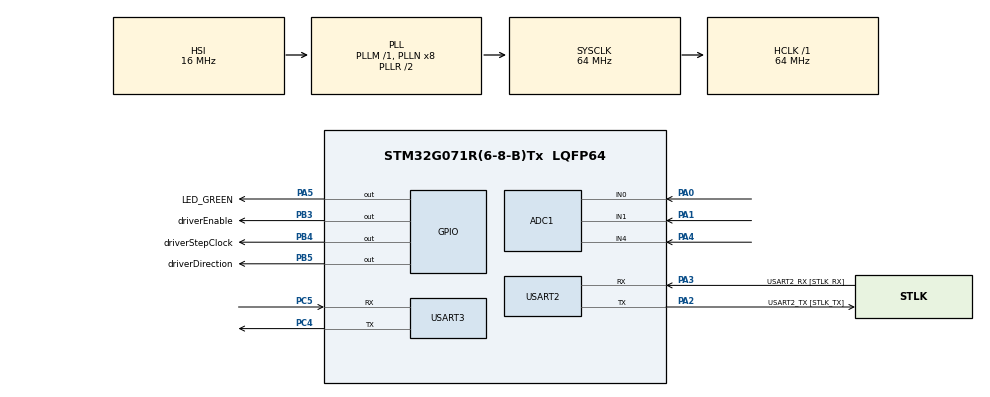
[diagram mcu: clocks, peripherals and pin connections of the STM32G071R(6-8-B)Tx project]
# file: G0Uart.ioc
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ADC1.Channel-0\#ChannelRegularConversion=ADC_CHANNEL_0
ADC1.Channel-1\#ChannelRegularConversion=ADC_CHANNEL_1
ADC1.Channel-2\#ChannelRegularConversion=ADC_CHANNEL_4
ADC1.ClockPrescaler=ADC_CLOCK_ASYNC_DIV1
ADC1.ContinuousConvMode=DISABLE
ADC1.DMAContinuousRequests=ENABLE
ADC1.EOCSelection=ADC_EOC_SEQ_CONV
ADC1.ExternalTrigConv=ADC_EXTERNALTRIG_T2_TRGO
ADC1.ExternalTrigConvEdge=ADC_EXTERNALTRIGCONVEDGE_RISINGFALLING
ADC1.NbrOfConversion=3
ADC1.NbrOfConversionFlag=1
ADC1.Rank-0\#ChannelRegularConversion=1
ADC1.Rank-1\#ChannelRegularConversion=2
ADC1.Rank-2\#ChannelRegularConversion=3
ADC1.SamplingTime-0\#ChannelRegularConversion=ADC_SAMPLINGTIME_COMMON_1
ADC1.SamplingTime-1\#ChannelRegularConversion=ADC_SAMPLINGTIME_COMMON_1
ADC1.SamplingTime-2\#ChannelRegularConversion=ADC_SAMPLINGTIME_COMMON_1
ADC1.SelectedChannel=ADC_CHANNEL_0|ADC_CHANNEL_1|ADC_CHANNEL_4
ADC1.master=1
Dma.ADC1.0.Direction=DMA_PERIPH_TO_MEMORY
Dma.ADC1.0.EventEnable=DISABLE
Dma.ADC1.0.Instance=DMA1_Channel1
Dma.ADC1.0.MemDataAlignment=DMA_MDATAALIGN_HALFWORD
Dma.ADC1.0.MemInc=DMA_MINC_ENABLE
Dma.ADC1.0.Mode=DMA_CIRCULAR
Dma.ADC1.0.PeriphDataAlignment=DMA_PDATAALIGN_HALFWORD
Dma.ADC1.0.PeriphInc=DMA_PINC_DISABLE
Dma.ADC1.0.Polarity=HAL_DMAMUX_REQ_GEN_RISING
Dma.ADC1.0.Priority=DMA_PRIORITY_LOW
Dma.ADC1.0.RequestNumber=1
Dma.ADC1.0.SignalID=NONE
Dma.ADC1.0.SyncEnable=ENABLE
Dma.ADC1.0.SyncPolarity=HAL_DMAMUX_SYNC_RISING
Dma.ADC1.0.SyncRequestNumber=1
Dma.ADC1.0.SyncSignalID=NONE
Dma.Request0=ADC1
Dma.Request1=USART3_RX
Dma.USART3_RX.1.Direction=DMA_PERIPH_TO_MEMORY
Dma.USART3_RX.1.EventEnable=DISABLE
Dma.USART3_RX.1.Instance=DMA1_Channel2
Dma.USART3_RX.1.MemDataAlignment=DMA_MDATAALIGN_BYTE
Dma.USART3_RX.1.MemInc=DMA_MINC_ENABLE
Dma.USART3_RX.1.Mode=DMA_NORMAL
Dma.USART3_RX.1.PeriphDataAlignment=DMA_PDATAALIGN_BYTE
Dma.USART3_RX.1.PeriphInc=DMA_PINC_DISABLE
Dma.USART3_RX.1.Polarity=HAL_DMAMUX_REQ_GEN_RISING
Dma.USART3_RX.1.Priority=DMA_PRIORITY_LOW
Dma.USART3_RX.1.RequestNumber=1
Dma.USART3_RX.1.SignalID=NONE
Dma.USART3_RX.1.SyncEnable=DISABLE
Dma.USART3_RX.1.SyncPolarity=HAL_DMAMUX_SYNC_NO_EVENT
Dma.USART3_RX.1.SyncRequestNumber=1
Dma.USART3_RX.1.SyncSignalID=NONE
Mcu.Family=STM32G0
Mcu.Name=STM32G071R(6-8-B)Tx
Mcu.Package=LQFP64
NVIC.ADC1_COMP_IRQn=true\:0\:0\:false\:false\:true\:true\:true\:true
NVIC.DMA1_Ch4_7_DMAMUX1_OVR_IRQn=true\:0\:0\:false\:false\:true\:false\:true\:true
NVIC.DMA1_Channel1_IRQn=true\:0\:0\:false\:false\:true\:false\:true\:true
NVIC.DMA1_Channel2_3_IRQn=true\:0\:0\:false\:false\:true\:false\:true\:true
NVIC.TIM1_BRK_UP_TRG_COM_IRQn=true\:0\:0\:false\:false\:true\:true\:true\:true
NVIC.TIM2_IRQn=true\:0\:0\:false\:false\:true\:true\:true\:true
NVIC.USART3_4_LPUART1_IRQn=true\:0\:0\:false\:false\:true\:true\:true\:true
PA0.Mode=IN0
PA0.Signal=ADC1_IN0
PA1.Mode=IN1
PA1.Signal=ADC1_IN1
PA13.GPIO_Label=TMS
PA13.Mode=Serial_Wire
PA13.Signal=SYS_SWDIO
PA14-BOOT0.GPIO_Label=TCK
PA14-BOOT0.Mode=Serial_Wire
PA14-BOOT0.Signal=SYS_SWCLK
PA2.GPIO_Label=USART2_TX [STLK_TX]
PA2.GPIO_PuPd=GPIO_PULLUP
PA2.Mode=Asynchronous
PA2.Signal=USART2_TX
PA3.GPIO_Label=USART2_RX [STLK_RX]
PA3.GPIO_PuPd=GPIO_PULLUP
PA3.Mode=Asynchronous
PA3.Signal=USART2_RX
PA4.Mode=IN4
PA4.Signal=ADC1_IN4
PA5.GPIO_Label=LED_GREEN
PA5.GPIO_Speed=GPIO_SPEED_FREQ_HIGH
PA5.Signal=GPIO_Output
PB3.GPIO_Label=driverEnable
PB3.Signal=GPIO_Output
PB4.GPIO_Label=driverStepClock
PB4.Signal=GPIO_Output
PB5.GPIO_Label=driverDirection
PB5.Signal=GPIO_Output
PC13.Mode=SYS_WakeUp1
PC13.Signal=SYS_WKUP2
PC14-OSC32_IN\ (PC14).Signal=RCC_OSC32_IN
PC15-OSC32_OUT\ (PC15).Signal=RCC_OSC32_OUT
PC4.Mode=Asynchronous
PC4.Signal=USART3_TX
PC5.Mode=Asynchronous
PC5.Signal=USART3_RX
PF0-OSC_IN\ (PF0).GPIO_Label=MCO
PF0-OSC_IN\ (PF0).Signal=RCC_OSC_IN
ProjectManager.HeapSize=0x200
ProjectManager.StackSize=0x400
ProjectManager.TargetToolchain=STM32CubeIDE
RCC.ADCFreq_Value=64000000
RCC.AHBFreq_Value=64000000
RCC.CortexFreq_Value=64000000
RCC.EXTERNAL_CLOCK_VALUE=12288000
RCC.HCLKFreq_Value=64000000
RCC.HSE_VALUE=8000000
RCC.HSI_VALUE=16000000
RCC.LSE_VALUE=32768
RCC.SYSCLKFreq_VALUE=64000000
RCC.SYSCLKSource=RCC_SYSCLKSOURCE_PLLCLK
RCC.VCOOutputFreq_Value=128000000
TIM1.Period=1000-1
TIM1.Prescaler=64-1
TIM2.Period=30-1
TIM2.Prescaler=64-1
TIM2.TIM_MasterOutputTrigger=TIM_TRGO_UPDATE
USART2.VirtualMode-Asynchronous=VM_ASYNC
USART3.VirtualMode-Asynchronous=VM_ASYNC
VP_TIM1_VS_ClockSourceINT.Mode=Internal
VP_TIM2_VS_ClockSourceINT.Mode=Internal
board=NUCLEO-G071RB

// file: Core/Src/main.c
/* USER CODE BEGIN Header */
/**
 ******************************************************************************
 * @file           : main.c
 * @brief          : Main program body
 ******************************************************************************
 * @attention
 *
 * Copyright (c) 2023 STMicroelectronics.
 * All rights reserved.
 *
 * This software is licensed under terms that can be found in the LICENSE file
 * in the root directory of this software component.
 * If no LICENSE file comes with this software, it is provided AS-IS.
 *
 ******************************************************************************
 */
/* USER CODE END Header */
#include "main.h"

/* USER CODE BEGIN Includes */
#include <string.h>
#include "stdbool.h"
/* USER CODE END Includes */

/* USER CODE BEGIN PD */
char RxBuf[10];
uint8_t tempBuf[10];
bool okflag = false;
char speed, test, turn;
uint16_t noTurns;
uint32_t combine;

// ADC Variable START
volatile uint32_t avg1 = 0, avg2 = 0, avg3 = 0, adc_val, sum = 0;
int top_val1[100], top_val2[100], top_val3[100];

#define Buflen 3
uint16_t dmaBuffer[Buflen];

uint32_t samp100 = 0;
// ADC Variable END

// Merge file START

volatile uint8_t timerCount = 0;
volatile bool timerFlag = false;
volatile uint16_t motorStepCount = 0;
volatile uint16_t motorRotateCount = 0;
volatile uint16_t noOfTurn = 10;
volatile uint16_t noSteptoGive = 8000;
uint16_t x = 0;
volatile uint32_t adcResult[3];
// Merge file END

uint16_t timBuffer[Buflen];

/* USER CODE END PD */

ADC_HandleTypeDef hadc1;
DMA_HandleTypeDef hdma_adc1;

TIM_HandleTypeDef htim1;
TIM_HandleTypeDef htim2;

UART_HandleTypeDef huart2;
UART_HandleTypeDef huart3;
DMA_HandleTypeDef hdma_usart3_rx;

void SystemClock_Config(void);
static void MX_GPIO_Init(void);
static void MX_DMA_Init(void);
static void MX_ADC1_Init(void);
static void MX_TIM2_Init(void);
static void MX_USART2_UART_Init(void);
static void MX_USART3_UART_Init(void);
static void MX_TIM1_Init(void);
/* USER CODE BEGIN PFP */
uint8_t count = 0;

/* USER CODE END PFP */

/* USER CODE BEGIN 0 */
void HAL_UART_RxCpltCallback(UART_HandleTypeDef *huart) {
	UNUSED(huart);
	okflag = true;

}

void updateVal(int *top_val1, int *top_val2, int *top_val3, int adc_val1,
		int adc_val2, int adc_val3) {
	for (uint8_t counter = 1; counter < 100; counter++) {
		top_val1[counter - 1] = top_val1[counter];
		top_val2[counter - 1] = top_val2[counter];
		top_val3[counter - 1] = top_val3[counter];
	}
	top_val1[99] = adc_val1;
	top_val2[99] = adc_val2;
	top_val3[99] = adc_val3;
}
uint16_t averageVal(int *top_val) {
	sum = 0;
	for (int i = 0; i < 100; i++) {
		sum += top_val[i];
	}
	return sum / 100;
}

void HAL_ADC_ConvCpltCallback(ADC_HandleTypeDef *hadc) {
	if (samp100 < 100) {
		updateVal(top_val1, top_val2, top_val3, dmaBuffer[0], dmaBuffer[1],
				dmaBuffer[2]);
		avg1 = averageVal(top_val1);
		avg2 = averageVal(top_val2);
		avg3 = averageVal(top_val3);
		HAL_ADC_Start_DMA(&hadc1, (uint32_t*) dmaBuffer, Buflen);

	}

	samp100++;
}

/* USER CODE END 0 */

int main(void) {

	/* MCU Configuration--------------------------------------------------------*/

	/* Reset of all peripherals, Initializes the Flash interface and the Systick. */
	HAL_Init();

	/* Configure the system clock */
	SystemClock_Config();

	/* Initialize all configured peripherals */
	MX_GPIO_Init();
	MX_DMA_Init();
	MX_ADC1_Init();
	MX_TIM2_Init();
	MX_USART2_UART_Init();
	MX_USART3_UART_Init();
	MX_TIM1_Init();
	/* USER CODE BEGIN 2 */

	HAL_UART_Receive_DMA(&huart3, (uint8_t*) RxBuf, 10);

	// HAL_ADCEx_Calibration_Start(&hadc1);

	// HAL_TIM_Base_Start(&htim2);

	HAL_TIM_Base_Start(&htim2);
	HAL_ADC_Start_DMA(&hadc1, (uint32_t*) dmaBuffer, Buflen);
	/* USER CODE END 2 */

	/* Infinite loop */
	while (1) {

		/* USER CODE BEGIN 3 */
		//	  count = 38;
		//	  HAL_UART_Transmit(&huart3, (uint8_t *)&count, 1, 10);
		//	  HAL_Delay(1000);
		if (okflag == true) {
			int i = 9;
			okflag = false;
			while (i--) {
				tempBuf[i] = RxBuf[i];
			}
			speed = RxBuf[0];
			test = RxBuf[2];
			turn = RxBuf[4];

			noTurns = 100 * (int) (RxBuf[6] - 48) + 10 * (int) (RxBuf[7] - 48)
					+ (int) (RxBuf[8] - 48);
			HAL_TIM_Base_Start_IT(&htim1);
			HAL_GPIO_WritePin(driverDirection_GPIO_Port, driverDirection_Pin,
					GPIO_PIN_SET);
			HAL_GPIO_WritePin(driverEnable_GPIO_Port, driverEnable_Pin,
					GPIO_PIN_SET);

			HAL_UART_Receive_DMA(&huart3, (uint8_t*) RxBuf, 10);
		}

		if (timerFlag) {
			timerFlag = false;
			timerCount += 1;
			switch (timerCount) {
			case 1:

				HAL_GPIO_WritePin(driverStepClock_GPIO_Port,
				driverStepClock_Pin, GPIO_PIN_SET);
				motorStepCount += 1;
				break;
			case 12:
				HAL_GPIO_WritePin(driverStepClock_GPIO_Port,
				driverStepClock_Pin, GPIO_PIN_RESET);
				if (motorStepCount == noSteptoGive) {
					motorStepCount = 0;
					HAL_GPIO_TogglePin(driverDirection_GPIO_Port,
					driverDirection_Pin);
				}
				// write logic for ADC Start and its timer (on ADCwithdma and timer for its trigger)

				// ADC Logic START

				// ADC Logic END

				break;
			case 24:
				break;

				// write logic for ADC stop and its timer (on ADCwithdma and timer for its trigger)

				// ADC Logic Stop START
				samp100 = 0;
				// ADC Logic Stop END

				// transmit data from here

				// Data Transmit START

				// Data Transmit END

			case 36:
				timerCount = 0;
				if (motorRotateCount == 2 * noSteptoGive) {
					HAL_TIM_Base_Stop_IT(&htim1);
					HAL_GPIO_WritePin(driverEnable_GPIO_Port, driverEnable_Pin,
							GPIO_PIN_RESET);
				}
				break;
			}
		}
	}
	/* USER CODE END 3 */
}

void SystemClock_Config(void) {
	RCC_OscInitTypeDef RCC_OscInitStruct = { 0 };
	RCC_ClkInitTypeDef RCC_ClkInitStruct = { 0 };

	/** Configure the main internal regulator output voltage
	 */
	HAL_PWREx_ControlVoltageScaling(PWR_REGULATOR_VOLTAGE_SCALE1);

	/** Initializes the RCC Oscillators according to the specified parameters
	 * in the RCC_OscInitTypeDef structure.
	 */
	RCC_OscInitStruct.OscillatorType = RCC_OSCILLATORTYPE_HSI;
	RCC_OscInitStruct.HSIState = RCC_HSI_ON;
	RCC_OscInitStruct.HSIDiv = RCC_HSI_DIV1;
	RCC_OscInitStruct.HSICalibrationValue = RCC_HSICALIBRATION_DEFAULT;
	RCC_OscInitStruct.PLL.PLLState = RCC_PLL_ON;
	RCC_OscInitStruct.PLL.PLLSource = RCC_PLLSOURCE_HSI;
	RCC_OscInitStruct.PLL.PLLM = RCC_PLLM_DIV1;
	RCC_OscInitStruct.PLL.PLLN = 8;
	RCC_OscInitStruct.PLL.PLLP = RCC_PLLP_DIV2;
	RCC_OscInitStruct.PLL.PLLQ = RCC_PLLQ_DIV2;
	RCC_OscInitStruct.PLL.PLLR = RCC_PLLR_DIV2;
	if (HAL_RCC_OscConfig(&RCC_OscInitStruct) != HAL_OK) {
		Error_Handler();
	}

	/** Initializes the CPU, AHB and APB buses clocks
	 */
	RCC_ClkInitStruct.ClockType = RCC_CLOCKTYPE_HCLK | RCC_CLOCKTYPE_SYSCLK
			| RCC_CLOCKTYPE_PCLK1;
	RCC_ClkInitStruct.SYSCLKSource = RCC_SYSCLKSOURCE_PLLCLK;
	RCC_ClkInitStruct.AHBCLKDivider = RCC_SYSCLK_DIV1;
	RCC_ClkInitStruct.APB1CLKDivider = RCC_HCLK_DIV1;

	if (HAL_RCC_ClockConfig(&RCC_ClkInitStruct, FLASH_LATENCY_2) != HAL_OK) {
		Error_Handler();
	}
}

static void MX_ADC1_Init(void) {

	ADC_ChannelConfTypeDef sConfig = { 0 };

	/** Configure the global features of the ADC (Clock, Resolution, Data Alignment and number of conversion)
	 */
	hadc1.Instance = ADC1;
	hadc1.Init.ClockPrescaler = ADC_CLOCK_ASYNC_DIV1;
	hadc1.Init.Resolution = ADC_RESOLUTION_12B;
	hadc1.Init.DataAlign = ADC_DATAALIGN_RIGHT;
	hadc1.Init.ScanConvMode = ADC_SCAN_ENABLE;
	hadc1.Init.EOCSelection = ADC_EOC_SEQ_CONV;
	hadc1.Init.LowPowerAutoWait = DISABLE;
	hadc1.Init.LowPowerAutoPowerOff = DISABLE;
	hadc1.Init.ContinuousConvMode = DISABLE;
	hadc1.Init.NbrOfConversion = 3;
	hadc1.Init.DiscontinuousConvMode = DISABLE;
	hadc1.Init.ExternalTrigConv = ADC_EXTERNALTRIG_T2_TRGO;
	hadc1.Init.ExternalTrigConvEdge = ADC_EXTERNALTRIGCONVEDGE_RISINGFALLING;
	hadc1.Init.DMAContinuousRequests = ENABLE;
	hadc1.Init.Overrun = ADC_OVR_DATA_PRESERVED;
	hadc1.Init.SamplingTimeCommon1 = ADC_SAMPLETIME_1CYCLE_5;
	hadc1.Init.SamplingTimeCommon2 = ADC_SAMPLETIME_1CYCLE_5;
	hadc1.Init.OversamplingMode = DISABLE;
	hadc1.Init.TriggerFrequencyMode = ADC_TRIGGER_FREQ_HIGH;
	if (HAL_ADC_Init(&hadc1) != HAL_OK) {
		Error_Handler();
	}

	/** Configure Regular Channel
	 */
	sConfig.Channel = ADC_CHANNEL_0;
	sConfig.Rank = ADC_REGULAR_RANK_1;
	sConfig.SamplingTime = ADC_SAMPLINGTIME_COMMON_1;
	if (HAL_ADC_ConfigChannel(&hadc1, &sConfig) != HAL_OK) {
		Error_Handler();
	}

	/** Configure Regular Channel
	 */
	sConfig.Channel = ADC_CHANNEL_1;
	sConfig.Rank = ADC_REGULAR_RANK_2;
	if (HAL_ADC_ConfigChannel(&hadc1, &sConfig) != HAL_OK) {
		Error_Handler();
	}

	/** Configure Regular Channel
	 */
	sConfig.Channel = ADC_CHANNEL_4;
	sConfig.Rank = ADC_REGULAR_RANK_3;
	if (HAL_ADC_ConfigChannel(&hadc1, &sConfig) != HAL_OK) {
		Error_Handler();
	}

}

static void MX_TIM1_Init(void) {

	TIM_ClockConfigTypeDef sClockSourceConfig = { 0 };
	TIM_MasterConfigTypeDef sMasterConfig = { 0 };

	htim1.Instance = TIM1;
	htim1.Init.Prescaler = 64 - 1;
	htim1.Init.CounterMode = TIM_COUNTERMODE_UP;
	htim1.Init.Period = 1000 - 1;
	htim1.Init.ClockDivision = TIM_CLOCKDIVISION_DIV1;
	htim1.Init.RepetitionCounter = 0;
	htim1.Init.AutoReloadPreload = TIM_AUTORELOAD_PRELOAD_DISABLE;
	if (HAL_TIM_Base_Init(&htim1) != HAL_OK) {
		Error_Handler();
	}
	sClockSourceConfig.ClockSource = TIM_CLOCKSOURCE_INTERNAL;
	if (HAL_TIM_ConfigClockSource(&htim1, &sClockSourceConfig) != HAL_OK) {
		Error_Handler();
	}
	sMasterConfig.MasterOutputTrigger = TIM_TRGO_RESET;
	sMasterConfig.MasterOutputTrigger2 = TIM_TRGO2_RESET;
	sMasterConfig.MasterSlaveMode = TIM_MASTERSLAVEMODE_DISABLE;
	if (HAL_TIMEx_MasterConfigSynchronization(&htim1, &sMasterConfig)
			!= HAL_OK) {
		Error_Handler();
	}

}

static void MX_TIM2_Init(void) {

	TIM_ClockConfigTypeDef sClockSourceConfig = { 0 };
	TIM_MasterConfigTypeDef sMasterConfig = { 0 };

	htim2.Instance = TIM2;
	htim2.Init.Prescaler = 64 - 1;
	htim2.Init.CounterMode = TIM_COUNTERMODE_UP;
	htim2.Init.Period = 30 - 1;
	htim2.Init.ClockDivision = TIM_CLOCKDIVISION_DIV1;
	htim2.Init.AutoReloadPreload = TIM_AUTORELOAD_PRELOAD_DISABLE;
	if (HAL_TIM_Base_Init(&htim2) != HAL_OK) {
		Error_Handler();
	}
	sClockSourceConfig.ClockSource = TIM_CLOCKSOURCE_INTERNAL;
	if (HAL_TIM_ConfigClockSource(&htim2, &sClockSourceConfig) != HAL_OK) {
		Error_Handler();
	}
	sMasterConfig.MasterOutputTrigger = TIM_TRGO_UPDATE;
	sMasterConfig.MasterSlaveMode = TIM_MASTERSLAVEMODE_DISABLE;
	if (HAL_TIMEx_MasterConfigSynchronization(&htim2, &sMasterConfig)
			!= HAL_OK) {
		Error_Handler();
	}

}

static void MX_USART2_UART_Init(void) {

	huart2.Instance = USART2;
	huart2.Init.BaudRate = 115200;
	huart2.Init.WordLength = UART_WORDLENGTH_8B;
	huart2.Init.StopBits = UART_STOPBITS_1;
	huart2.Init.Parity = UART_PARITY_NONE;
	huart2.Init.Mode = UART_MODE_TX_RX;
	huart2.Init.HwFlowCtl = UART_HWCONTROL_NONE;
	huart2.Init.OverSampling = UART_OVERSAMPLING_16;
	huart2.Init.OneBitSampling = UART_ONE_BIT_SAMPLE_DISABLE;
	huart2.Init.ClockPrescaler = UART_PRESCALER_DIV1;
	huart2.AdvancedInit.AdvFeatureInit = UART_ADVFEATURE_NO_INIT;
	if (HAL_UART_Init(&huart2) != HAL_OK) {
		Error_Handler();
	}
	if (HAL_UARTEx_SetTxFifoThreshold(&huart2, UART_TXFIFO_THRESHOLD_1_8)
			!= HAL_OK) {
		Error_Handler();
	}
	if (HAL_UARTEx_SetRxFifoThreshold(&huart2, UART_RXFIFO_THRESHOLD_1_8)
			!= HAL_OK) {
		Error_Handler();
	}
	if (HAL_UARTEx_DisableFifoMode(&huart2) != HAL_OK) {
		Error_Handler();
	}

}

static void MX_USART3_UART_Init(void) {

	huart3.Instance = USART3;
	huart3.Init.BaudRate = 115200;
	huart3.Init.WordLength = UART_WORDLENGTH_8B;
	huart3.Init.StopBits = UART_STOPBITS_1;
	huart3.Init.Parity = UART_PARITY_NONE;
	huart3.Init.Mode = UART_MODE_TX_RX;
	huart3.Init.HwFlowCtl = UART_HWCONTROL_NONE;
	huart3.Init.OverSampling = UART_OVERSAMPLING_16;
	huart3.Init.OneBitSampling = UART_ONE_BIT_SAMPLE_DISABLE;
	huart3.Init.ClockPrescaler = UART_PRESCALER_DIV1;
	huart3.AdvancedInit.AdvFeatureInit = UART_ADVFEATURE_NO_INIT;
	if (HAL_UART_Init(&huart3) != HAL_OK) {
		Error_Handler();
	}

}

static void MX_DMA_Init(void) {

	/* DMA controller clock enable */
	__HAL_RCC_DMA1_CLK_ENABLE();

	/* DMA interrupt init */
	/* DMA1_Channel1_IRQn interrupt configuration */
	HAL_NVIC_SetPriority(DMA1_Channel1_IRQn, 0, 0);
	HAL_NVIC_EnableIRQ(DMA1_Channel1_IRQn);
	/* DMA1_Channel2_3_IRQn interrupt configuration */
	HAL_NVIC_SetPriority(DMA1_Channel2_3_IRQn, 0, 0);
	HAL_NVIC_EnableIRQ(DMA1_Channel2_3_IRQn);
	/* DMA1_Ch4_7_DMAMUX1_OVR_IRQn interrupt configuration */
	HAL_NVIC_SetPriority(DMA1_Ch4_7_DMAMUX1_OVR_IRQn, 0, 0);
	HAL_NVIC_EnableIRQ(DMA1_Ch4_7_DMAMUX1_OVR_IRQn);

}

static void MX_GPIO_Init(void) {
	GPIO_InitTypeDef GPIO_InitStruct = { 0 };

	/* GPIO Ports Clock Enable */
	__HAL_RCC_GPIOC_CLK_ENABLE();
	__HAL_RCC_GPIOF_CLK_ENABLE();
	__HAL_RCC_GPIOA_CLK_ENABLE();
	__HAL_RCC_GPIOB_CLK_ENABLE();

	/*Configure GPIO pin Output Level */
	HAL_GPIO_WritePin(LED_GREEN_GPIO_Port, LED_GREEN_Pin, GPIO_PIN_RESET);

	/*Configure GPIO pin Output Level */
	HAL_GPIO_WritePin(GPIOB,
	driverEnable_Pin | driverStepClock_Pin | driverDirection_Pin,
			GPIO_PIN_RESET);

	/*Configure GPIO pin : LED_GREEN_Pin */
	GPIO_InitStruct.Pin = LED_GREEN_Pin;
	GPIO_InitStruct.Mode = GPIO_MODE_OUTPUT_PP;
	GPIO_InitStruct.Pull = GPIO_NOPULL;
	GPIO_InitStruct.Speed = GPIO_SPEED_FREQ_HIGH;
	HAL_GPIO_Init(LED_GREEN_GPIO_Port, &GPIO_InitStruct);

	/*Configure GPIO pins : driverEnable_Pin driverStepClock_Pin driverDirection_Pin */
	GPIO_InitStruct.Pin = driverEnable_Pin | driverStepClock_Pin
			| driverDirection_Pin;
	GPIO_InitStruct.Mode = GPIO_MODE_OUTPUT_PP;
	GPIO_InitStruct.Pull = GPIO_NOPULL;
	GPIO_InitStruct.Speed = GPIO_SPEED_FREQ_LOW;
	HAL_GPIO_Init(GPIOB, &GPIO_InitStruct);

}

void Error_Handler(void) {
	__disable_irq();
	while (1) {
	}
}
